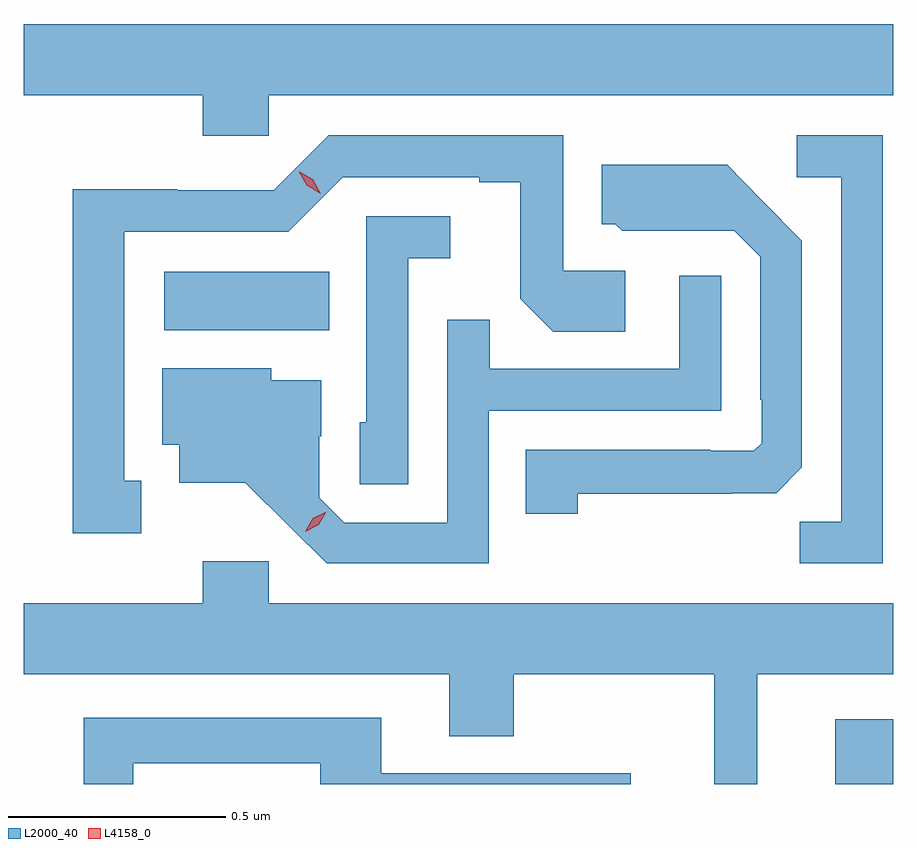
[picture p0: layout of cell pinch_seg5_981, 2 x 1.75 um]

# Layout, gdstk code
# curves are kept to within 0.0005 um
import gdstk
lib = gdstk.Library(unit=1e-6, precision=1e-09)
def R(c, l, rs):  # rectangles x0, y0, x1, y1
    for r in rs: c.add(gdstk.rectangle(r[:2], r[2:], *l))
def P(c, l, *ps):  # polygons
    for p in ps: c.add(gdstk.Polygon(p, *l))
L2000_40 = (2000, 40)
L4158_0 = (4158, 0)

pinch_seg5_981 = lib.new_cell('pinch_seg5_981')
R(pinch_seg5_981, L2000_40, [(754.748,903.128,754.881,903.277), (753.204,904.172,753.584,904.306)])
P(pinch_seg5_981, L2000_40, [(753.444,904.712),(754.881,904.712),(754.881,904.876),(752.881,904.876),(752.881,904.712),(753.293,904.712),(753.293,904.619),(753.444,904.619)],
  [(754.857,904.62),(754.659,904.62),(754.659,904.524),(754.761,904.524),(754.761,903.731),(754.666,903.731),(754.666,903.636),(754.857,903.636)],
  [(753.151,903.825),(753.112,903.825),(753.112,904.398),(753.489,904.398),(753.615,904.524),(753.929,904.524),(753.929,904.512),(754.023,904.512),(754.023,904.244),(754.099,904.168),(754.264,904.168),(754.264,904.308),(754.122,904.308),(754.122,904.62),(753.582,904.62),(753.456,904.494),(753.234,904.494),(753.234,904.496),(752.994,904.496),(752.994,903.705),(753.151,903.705)],
  [(754.155,903.796),(754.511,903.796),(754.511,903.797),(754.612,903.797),(754.671,903.856),(754.671,904.378),(754.499,904.552),(754.211,904.552),(754.211,904.416),(754.242,904.416),(754.258,904.4),(754.392,904.4),(754.392,904.401),(754.515,904.401),(754.575,904.341),(754.575,904.012),(754.578,904.012),(754.578,903.912),(754.56,903.894),(754.46,903.894),(754.46,903.897),(754.036,903.897),(754.036,903.75),(754.155,903.75)],
  [(753.765,904.337),(753.862,904.337),(753.862,904.434),(753.669,904.434),(753.669,903.96),(753.654,903.96),(753.654,903.817),(753.765,903.817)],
  [(753.951,903.987),(754.485,903.987),(754.485,904.297),(754.389,904.297),(754.389,904.083),(753.953,904.083),(753.953,904.196),(753.855,904.196),(753.855,903.729),(753.618,903.729),(753.561,903.786),(753.561,903.928),(753.565,903.928),(753.565,904.057),(753.45,904.057),(753.45,904.084),(753.2,904.084),(753.2,903.908),(753.239,903.908),(753.239,903.821),(753.391,903.821),(753.578,903.636),(753.951,903.636)],
  [(754.568,903.38),(754.881,903.38),(754.881,903.544),(753.444,903.544),(753.444,903.64),(753.293,903.64),(753.293,903.544),(752.881,903.544),(752.881,903.38),(753.86,903.38),(753.86,903.238),(754.008,903.238),(754.008,903.38),(754.469,903.38),(754.469,903.128),(754.568,903.128)],
  [(753.133,903.176),(753.563,903.176),(753.563,903.128),(754.277,903.128),(754.277,903.153),(753.703,903.153),(753.703,903.28),(753.019,903.28),(753.019,903.128),(753.133,903.128)])
P(pinch_seg5_981, L4158_0, [(753.529,903.708),(753.529,903.708),(753.546,903.739),(753.577,903.754),(753.577,903.754),(753.577,903.754),(753.56,903.724),(753.529,903.708)],
  [(753.564,904.486),(753.532,904.505),(753.514,904.537),(753.514,904.537),(753.514,904.537),(753.546,904.519),(753.564,904.486),(753.564,904.486)])

lib.write_gds('pinch_seg5_981.gds')
